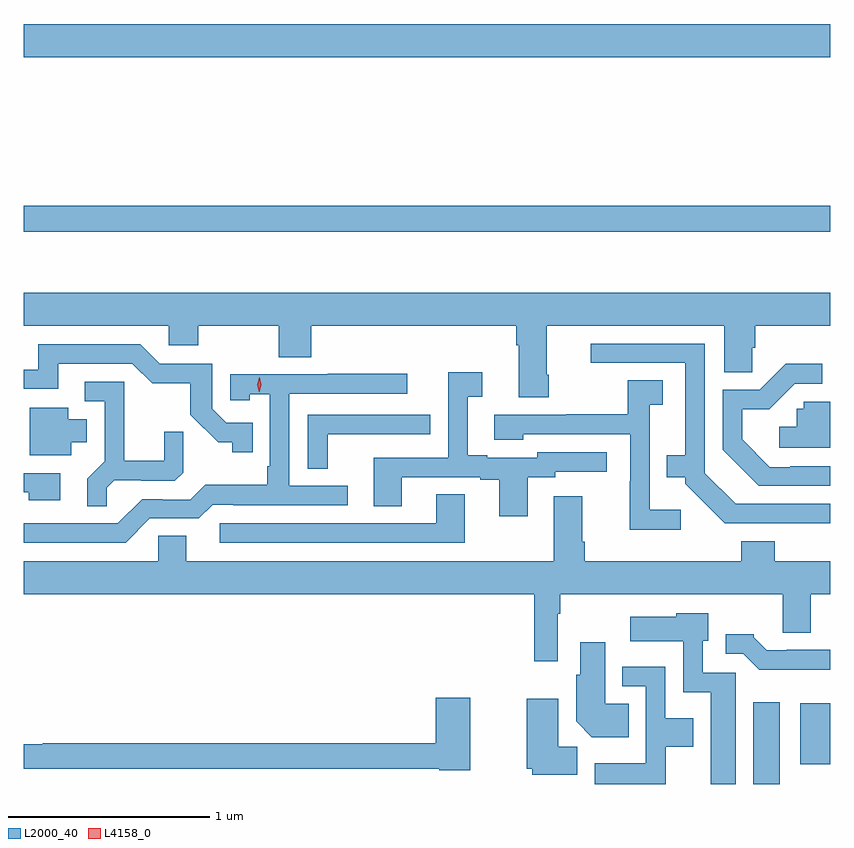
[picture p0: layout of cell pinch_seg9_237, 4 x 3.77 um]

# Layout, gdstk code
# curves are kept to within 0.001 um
import gdstk
lib = gdstk.Library(unit=1e-6, precision=1e-09)
def R(c, l, rs):  # rectangles x0, y0, x1, y1
    for r in rs: c.add(gdstk.rectangle(r[:2], r[2:], *l))
def P(c, l, *ps):  # polygons
    for p in ps: c.add(gdstk.Polygon(p, *l))
L2000_40 = (2000, 40)
L4158_0 = (4158, 0)

pinch_seg9_237 = lib.new_cell('pinch_seg9_237')
R(pinch_seg9_237, L2000_40, [(420.653,1235.439,420.784,1235.845), (420.884,1235.538,421.034,1235.839), (417.034,1238.178,421.034,1238.306), (417.034,1239.044,421.034,1239.208)])
P(pinch_seg9_237, L2000_40, [(419.637,1237.468),(419.629,1237.468),(419.629,1237.712),(420.509,1237.712),(420.509,1237.48),(420.647,1237.48),(420.647,1237.602),(420.662,1237.602),(420.662,1237.712),(421.034,1237.712),(421.034,1237.876),(417.034,1237.876),(417.034,1237.712),(417.753,1237.712),(417.753,1237.614),(417.9,1237.614),(417.9,1237.712),(418.3,1237.712),(418.3,1237.555),(418.46,1237.555),(418.46,1237.712),(419.477,1237.712),(419.477,1237.616),(419.489,1237.616),(419.489,1237.356),(419.637,1237.356)],
  [(421.034,1236.828),(420.564,1236.828),(420.411,1236.981),(420.411,1237.623),(419.847,1237.623),(419.847,1237.527),(420.314,1237.527),(420.314,1237.069),(420.223,1237.069),(420.223,1236.959),(420.315,1236.959),(420.315,1236.927),(420.51,1236.732),(421.034,1236.731)],
  [(418.169,1237.23),(418.038,1237.23),(417.969,1237.299),(417.969,1237.524),(417.708,1237.524),(417.612,1237.62),(417.107,1237.62),(417.107,1237.494),(417.034,1237.494),(417.034,1237.398),(417.205,1237.398),(417.205,1237.524),(417.573,1237.524),(417.672,1237.426),(417.861,1237.426),(417.861,1237.27),(417.998,1237.133),(418.068,1237.133),(418.068,1237.083),(418.169,1237.083)],
  [(421.034,1237.014),(420.835,1237.014),(420.835,1237.011),(420.735,1237.011),(420.598,1237.148),(420.598,1237.298),(420.731,1237.298),(420.858,1237.425),(420.994,1237.425),(420.994,1237.523),(420.812,1237.523),(420.684,1237.395),(420.501,1237.395),(420.501,1237.097),(420.68,1236.918),(421.034,1236.918)],
  [(419.533,1236.96),(419.67,1236.96),(419.67,1236.987),(419.926,1236.987),(419.926,1237.083),(419.58,1237.083),(419.58,1237.056),(419.332,1237.056),(419.332,1237.069),(419.236,1237.069),(419.236,1237.36),(419.308,1237.36),(419.308,1237.48),(419.139,1237.48),(419.139,1237.056),(418.769,1237.056),(418.769,1236.817),(418.909,1236.817),(418.909,1236.96),(419.297,1236.96),(419.297,1236.948),(419.393,1236.948),(419.393,1236.768),(419.533,1236.768)],
  [(417.66,1236.756),(417.903,1236.756),(417.972,1236.825),(418.072,1236.825),(418.072,1236.822),(418.642,1236.822),(418.642,1236.918),(418.35,1236.918),(418.35,1237.374),(418.936,1237.374),(418.936,1237.473),(418.543,1237.473),(418.543,1237.47),(418.059,1237.47),(418.059,1237.341),(418.155,1237.341),(418.155,1237.373),(418.254,1237.373),(418.254,1237.015),(418.242,1237.015),(418.242,1236.922),(417.934,1236.922),(417.861,1236.849),(417.722,1236.849),(417.722,1236.852),(417.621,1236.852),(417.501,1236.732),(417.034,1236.732),(417.034,1236.636),(417.54,1236.636)],
  [(420.292,1236.799),(420.138,1236.799),(420.138,1237.321),(420.202,1237.321),(420.202,1237.442),(420.03,1237.442),(420.03,1237.272),(419.725,1237.272),(419.725,1237.269),(419.367,1237.269),(419.367,1237.145),(419.511,1237.145),(419.511,1237.173),(420.042,1237.173),(420.042,1236.941),(420.04,1236.941),(420.04,1236.701),(420.292,1236.701)],
  [(417.447,1236.908),(417.484,1236.945),(417.618,1236.945),(417.618,1236.942),(417.783,1236.942),(417.824,1236.983),(417.824,1237.185),(417.73,1237.185),(417.73,1237.042),(417.533,1237.042),(417.533,1237.434),(417.336,1237.434),(417.336,1237.338),(417.435,1237.338),(417.435,1237.039),(417.349,1236.953),(417.349,1236.817),(417.447,1236.817)],
  [(421.034,1237.335),(420.903,1237.335),(420.903,1237.299),(420.867,1237.299),(420.867,1237.21),(420.78,1237.21),(420.78,1237.107),(421.034,1237.107)],
  [(417.271,1237.133),(417.346,1237.133),(417.346,1237.249),(417.256,1237.249),(417.256,1237.306),(417.065,1237.306),(417.065,1237.07),(417.271,1237.07)],
  [(418.542,1237.173),(418.937,1237.173),(418.937,1237.174),(419.05,1237.174),(419.05,1237.269),(418.443,1237.269),(418.443,1237.003),(418.542,1237.003)],
  [(417.214,1236.981),(417.034,1236.981),(417.034,1236.885),(417.058,1236.885),(417.058,1236.845),(417.214,1236.845)],
  [(419.221,1236.875),(419.081,1236.875),(419.081,1236.732),(418.005,1236.732),(418.005,1236.636),(419.221,1236.636)],
  [(419.682,1236.284),(419.695,1236.284),(419.695,1236.38),(420.797,1236.38),(420.797,1236.19),(420.937,1236.19),(420.937,1236.38),(421.034,1236.38),(421.034,1236.544),(420.758,1236.544),(420.758,1236.643),(420.593,1236.643),(420.593,1236.544),(419.816,1236.544),(419.816,1236.64),(419.803,1236.64),(419.803,1236.865),(419.663,1236.865),(419.663,1236.544),(417.841,1236.544),(417.841,1236.671),(417.702,1236.671),(417.702,1236.544),(417.034,1236.544),(417.034,1236.38),(419.566,1236.38),(419.566,1236.048),(419.682,1236.048)],
  [(420.565,1235.991),(420.402,1235.991),(420.402,1236.15),(420.43,1236.15),(420.43,1236.286),(420.27,1236.286),(420.27,1236.268),(420.042,1236.268),(420.042,1236.146),(420.306,1236.146),(420.306,1235.894),(420.44,1235.894),(420.44,1235.439),(420.565,1235.439)],
  [(421.034,1236.105),(420.817,1236.105),(420.817,1236.102),(420.718,1236.102),(420.654,1236.166),(420.654,1236.181),(420.515,1236.181),(420.515,1236.084),(420.603,1236.084),(420.682,1236.006),(421.034,1236.006)],
  [(420.035,1235.836),(419.917,1235.836),(419.917,1236.142),(419.795,1236.142),(419.795,1235.982),(419.774,1235.982),(419.774,1235.75),(419.852,1235.672),(420.035,1235.672)],
  [(420.219,1235.624),(420.355,1235.624),(420.355,1235.764),(420.216,1235.764),(420.216,1236.021),(420.003,1236.021),(420.003,1235.925),(420.12,1235.925),(420.12,1235.542),(419.867,1235.542),(419.867,1235.439),(420.219,1235.439)],
  [(419.248,1235.866),(419.078,1235.866),(419.078,1235.642),(417.128,1235.642),(417.128,1235.635),(417.034,1235.635),(417.034,1235.514),(419.094,1235.514),(419.094,1235.506),(419.248,1235.506)],
  [(419.779,1235.624),(419.686,1235.624),(419.686,1235.863),(419.528,1235.863),(419.528,1235.514),(419.556,1235.514),(419.556,1235.486),(419.779,1235.486)])
P(pinch_seg9_237, L4158_0, [(418.201,1237.383),(418.201,1237.383),(418.192,1237.419),(418.203,1237.454),(418.203,1237.455),(418.204,1237.454),(418.212,1237.418),(418.202,1237.383)])

lib.write_gds('pinch_seg9_237.gds')
